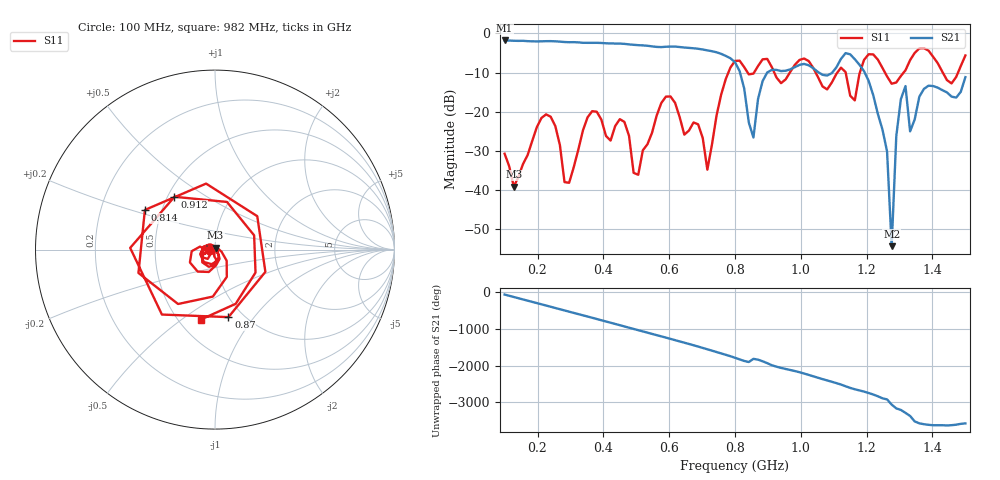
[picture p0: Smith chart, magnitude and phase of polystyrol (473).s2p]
! NanoVNA-App
! Date: 2025-09-25 15:33:34
! Start: 100MHz Stop: 1,5GHz Points: 101
! S-Parameter data: F S11 S21 S12 S22
# Hz S RI R 50
!  Frequency  S11_Real  S11_Imag  S21_Real  S21_Imag  S12_Real  S12_Imag  S22_Real  S22_Imag
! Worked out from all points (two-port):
!   101 points, 100 MHz to 1.5 GHz, reference 50 ohm
!   highest |S21| = -1.80 dB at 100 MHz (marker M1); lowest = -54.3 dB at 1.276 GHz (marker M2)
!   |S21| within 3 dB of the highest: start of sweep to 743.3 MHz
!   lowest |S11| = -39.1 dB at 128 MHz (marker M3), VSWR 1.02, Z = 50.3 + j1.06 ohm
!   |S11| at or under -10 dB: start of sweep to 779.8 MHz; 1.045 GHz to 1.111 GHz (65.89 MHz wide, 6.11 % of centre); 1.256 GHz to 1.312 GHz (56.57 MHz wide, 4.41 % of centre) (the widest 3 of 7)
!   S12 and S22 are empty: the file has one direction only
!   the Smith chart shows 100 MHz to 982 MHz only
!   S11 on the Smith chart (normalised r, x): 100 MHz: 0.94, -0.01; 814 MHz: 0.40, +0.22; 870 MHz: 0.86, -0.75; 912 MHz: 0.54, +0.37; 982 MHz: 0.64, -0.59
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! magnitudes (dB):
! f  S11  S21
! 100 MHz  -30.7  -1.8
! 128 MHz  -39.1  -1.9
! 212 MHz  -21.6  -2.0
! 282 MHz  -37.9  -2.2
! 338 MHz  -24.8  -2.4
! 506 MHz  -36.1  -3.0
! 576 MHz  -17.8  -3.5
! 716 MHz  -34.8  -4.3
! 800 MHz  -7.0  -7.3
! 814 MHz  -7.0  -9.6
! 856 MHz  -10.3  -26.6
! 870 MHz  -8.3  -16.7
! 912 MHz  -8.6  -9.3
! 982 MHz  -8.0  -8.6
! 1.038 GHz  -8.8  -8.9
! 1.206 GHz  -5.3  -12.1
! 1.262 GHz  -11.0  -30.1
! 1.276 GHz  -12.8  -54.3
! 1.29 GHz  -12.5  -26.2
! 1.318 GHz  -9.4  -13.4
! 1.332 GHz  -6.8  -25.0
! 1.5 GHz  -5.6  -11.2
